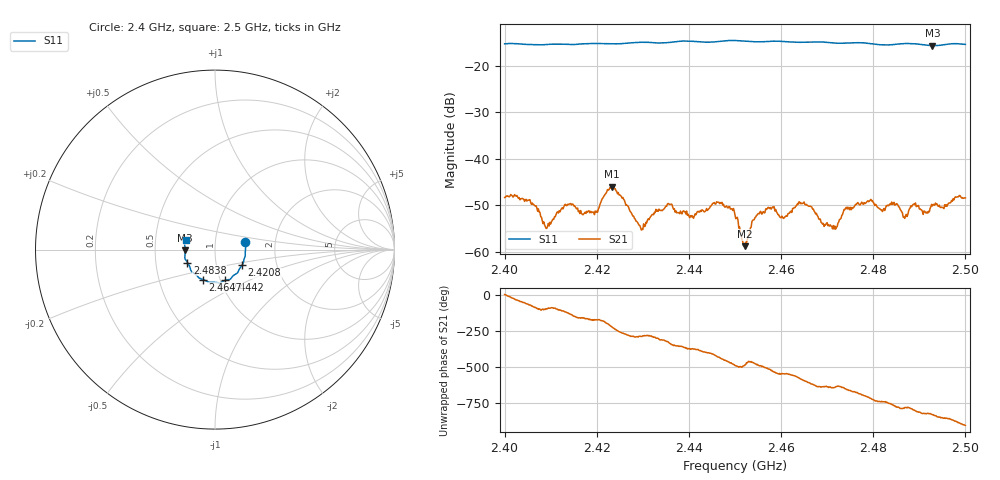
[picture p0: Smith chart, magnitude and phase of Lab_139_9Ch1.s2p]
# Hz S RI R 50
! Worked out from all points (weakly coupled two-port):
!   601 points, 2.4 GHz to 2.5 GHz, reference 50 ohm
!   highest |S21| = -46.05 dB at 2.4233 GHz (marker M1); lowest = -58.8 dB at 2.4522 GHz (marker M2)
!   lowest |S11| = -15.6 dB at 2.4928 GHz (marker M3), VSWR 1.40, Z = 35.8 - j0.349 ohm
!   |S11| at or under -10 dB: start of sweep to end of sweep
!   S12 and S22 are empty: the file has one direction only
!   S11 on the Smith chart (normalised r, x): 2.4 GHz: 1.40, +0.12; 2.4208 GHz: 1.33, -0.24; 2.4442 GHz: 1.05, -0.37; 2.4647 GHz: 0.83, -0.29; 2.4838 GHz: 0.73, -0.11; 2.5 GHz: 0.72, +0.08
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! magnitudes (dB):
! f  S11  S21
! 2.4 GHz  -15.2  -48.4
! 2.4055 GHz  -15.4  -48.8
! 2.4092 GHz  -15.4  -55.0
! 2.4135 GHz  -15.4  -50.1
! 2.4167 GHz  -15.3  -51.8
! 2.4208 GHz  -15.2  -49.5
! 2.4233 GHz  -15.2  -46.1
! 2.4295 GHz  -14.9  -54.8
! 2.4333 GHz  -15.0  -51.3
! 2.4442 GHz  -14.9  -50.9
! 2.45 GHz  -14.5  -52.1
! 2.4522 GHz  -14.7  -58.8
! 2.4552 GHz  -14.8  -51.8
! 2.4647 GHz  -14.9  -49.6
! 2.4667 GHz  -14.8  -50.4
! 2.4717 GHz  -15.1  -54.5
! 2.4742 GHz  -15.1  -50.5
! 2.4833 GHz  -15.5  -50.1
! 2.4838 GHz  -15.4  -49.9
! 2.487 GHz  -15.2  -52.3
! 2.4928 GHz  -15.6  -50.2
! 2.5 GHz  -15.4  -48.4
